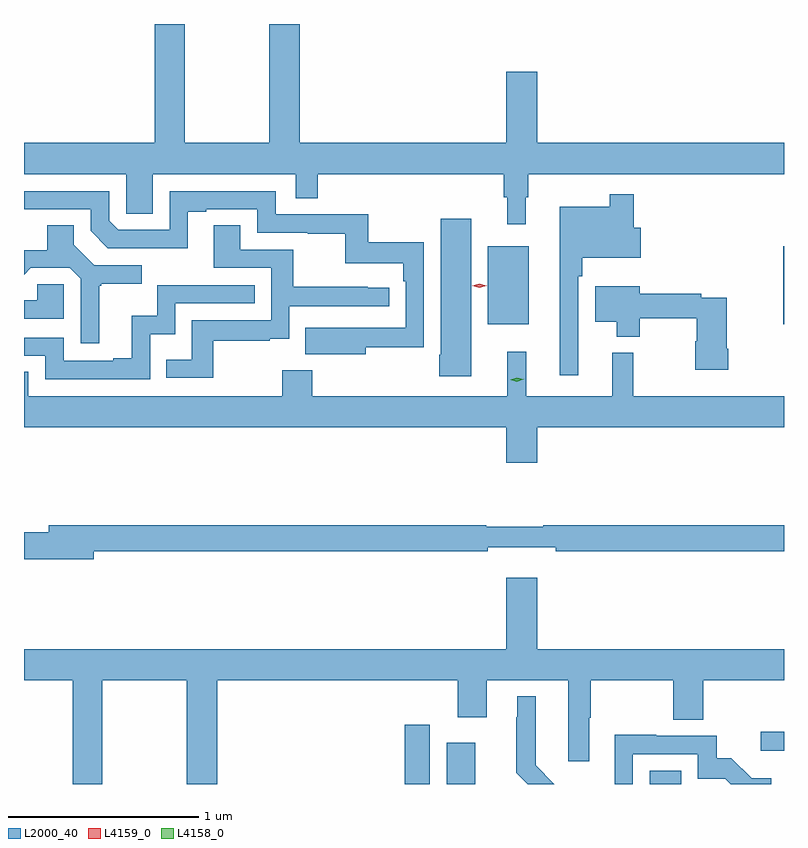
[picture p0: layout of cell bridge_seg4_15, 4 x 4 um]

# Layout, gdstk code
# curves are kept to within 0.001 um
import gdstk
lib = gdstk.Library(unit=1e-6, precision=1e-09)
def R(c, l, rs):  # rectangles x0, y0, x1, y1
    for r in rs: c.add(gdstk.rectangle(r[:2], r[2:], *l))
def P(c, l, *ps):  # polygons
    for p in ps: c.add(gdstk.Polygon(p, *l))
L2000_40 = (2000, 40)
L4158_0 = (4158, 0)
L4159_0 = (4159, 0)

bridge_seg4_15 = lib.new_cell('bridge_seg4_15')
R(bridge_seg4_15, L2000_40, [(1027.61,764.306,1027.741,764.617), (1027.832,764.306,1027.981,764.524), (1028.9,764.306,1029.064,764.377), (1029.483,764.48,1029.606,764.582), (1028.048,766.727,1028.263,767.137), (1029.602,766.727,1029.606,767.137)])
P(bridge_seg4_15, L2000_40, [(1028.248,767.393),(1028.26,767.393),(1028.26,767.516),(1029.606,767.516),(1029.606,767.68),(1028.308,767.68),(1028.308,768.055),(1028.144,768.055),(1028.144,767.68),(1027.058,767.68),(1027.058,768.306),(1026.898,768.306),(1026.898,767.68),(1026.453,767.68),(1026.453,768.306),(1026.293,768.306),(1026.293,767.68),(1025.606,767.68),(1025.606,767.516),(1026.144,767.516),(1026.144,767.308),(1026.283,767.308),(1026.283,767.516),(1027.035,767.516),(1027.035,767.389),(1027.151,767.389),(1027.151,767.516),(1028.131,767.516),(1028.131,767.393),(1028.15,767.393),(1028.15,767.253),(1028.248,767.253)],
  [(1027.405,766.606),(1027.71,766.606),(1027.71,767.158),(1027.417,767.158),(1027.417,767.304),(1026.93,767.304),(1026.93,767.427),(1026.372,767.427),(1026.372,767.223),(1026.102,767.223),(1026.054,767.271),(1026.054,767.427),(1025.606,767.427),(1025.606,767.331),(1025.958,767.331),(1025.958,767.217),(1026.048,767.127),(1026.469,767.126),(1026.469,767.319),(1026.565,767.319),(1026.565,767.331),(1026.834,767.331),(1026.834,767.208),(1027.099,767.208),(1027.099,767.203),(1027.296,767.203),(1027.296,767.048),(1027.601,767.048),(1027.601,766.952),(1027.614,766.952),(1027.614,766.707),(1027.087,766.708),(1027.087,766.568),(1027.405,766.568)],
  [(1028.523,766.979),(1028.543,766.979),(1028.543,767.075),(1028.851,767.075),(1028.851,767.233),(1028.816,767.233),(1028.816,767.41),(1028.688,767.41),(1028.688,767.344),(1028.426,767.344),(1028.426,766.458),(1028.523,766.458)],
  [(1027.96,767.281),(1027.799,767.281),(1027.799,766.564),(1027.792,766.564),(1027.792,766.452),(1027.96,766.452)],
  [(1026.601,766.638),(1026.899,766.638),(1026.899,766.649),(1027.002,766.649),(1027.002,766.821),(1027.528,766.821),(1027.528,766.917),(1027.415,766.917),(1027.415,766.922),(1027.022,766.922),(1027.022,767.118),(1026.745,767.118),(1026.745,767.246),(1026.605,767.246),(1026.605,767.022),(1026.906,767.022),(1026.906,766.746),(1026.49,766.746),(1026.49,766.54),(1026.355,766.54),(1026.355,766.443),(1026.601,766.443)],
  [(1026.001,766.929),(1026.013,766.929),(1026.013,766.94),(1026.226,766.94),(1026.226,767.037),(1025.976,767.037),(1025.869,767.144),(1025.869,767.246),(1025.729,767.246),(1025.729,767.114),(1025.606,767.114),(1025.606,766.987),(1025.641,767.022),(1025.847,767.022),(1025.904,766.965),(1025.904,766.626),(1026.001,766.626)],
  [(1025.814,766.935),(1025.677,766.935),(1025.677,766.851),(1025.606,766.851),(1025.606,766.755),(1025.814,766.755)],
  [(1026.27,766.673),(1026.402,766.673),(1026.402,766.836),(1026.821,766.836),(1026.821,766.932),(1026.306,766.932),(1026.306,766.771),(1026.173,766.771),(1026.173,766.546),(1026.077,766.546),(1026.077,766.533),(1025.814,766.533),(1025.814,766.656),(1025.606,766.656),(1025.606,766.56),(1025.718,766.56),(1025.718,766.437),(1026.27,766.437)],
  [(1029.312,766.597),(1029.304,766.597),(1029.304,766.866),(1029.17,766.866),(1029.17,766.886),(1028.848,766.886),(1028.848,766.927),(1028.612,766.927),(1028.612,766.739),(1028.726,766.739),(1028.726,766.661),(1028.848,766.661),(1028.848,766.758),(1029.146,766.758),(1029.146,766.635),(1029.139,766.635),(1029.139,766.485),(1029.312,766.485)],
  [(1028.308,766.184),(1029.606,766.184),(1029.606,766.348),(1028.812,766.348),(1028.812,766.576),(1028.702,766.576),(1028.702,766.348),(1028.249,766.348),(1028.249,766.582),(1028.15,766.582),(1028.15,766.348),(1027.124,766.348),(1027.124,766.483),(1026.964,766.483),(1026.964,766.348),(1025.628,766.348),(1025.628,766.475),(1025.606,766.475),(1025.606,766.184),(1028.144,766.184),(1028.144,765.996),(1028.308,765.996)],
  [(1025.974,765.532),(1028.048,765.532),(1028.048,765.551),(1028.404,765.551),(1028.404,765.532),(1029.606,765.532),(1029.606,765.668),(1028.339,765.668),(1028.339,765.661),(1028.039,765.661),(1028.039,765.668),(1025.735,765.668),(1025.735,765.632),(1025.606,765.632),(1025.606,765.49),(1025.974,765.49)],
  [(1026.018,764.852),(1026.463,764.852),(1026.463,764.306),(1026.623,764.306),(1026.623,764.852),(1027.889,764.852),(1027.889,764.658),(1028.041,764.658),(1028.041,764.852),(1028.471,764.852),(1028.471,764.427),(1028.581,764.427),(1028.581,764.656),(1028.589,764.656),(1028.589,764.852),(1029.022,764.852),(1029.022,764.644),(1029.182,764.644),(1029.182,764.852),(1029.606,764.852),(1029.606,765.016),(1028.308,765.016),(1028.308,765.391),(1028.144,765.391),(1028.144,765.016),(1025.606,765.016),(1025.606,764.852),(1025.863,764.852),(1025.863,764.306),(1026.018,764.306)],
  [(1028.299,764.404),(1028.299,764.767),(1028.201,764.767),(1028.201,764.657),(1028.197,764.657),(1028.197,764.366),(1028.257,764.306),(1028.397,764.306)],
  [(1028.811,764.463),(1029.153,764.463),(1029.153,764.334),(1029.297,764.334),(1029.325,764.306),(1029.539,764.306),(1029.539,764.335),(1029.435,764.335),(1029.328,764.442),(1029.252,764.442),(1029.252,764.559),(1028.933,764.559),(1028.933,764.564),(1028.714,764.564),(1028.715,764.306),(1028.811,764.306)])
P(bridge_seg4_15, L4158_0, [(1028.199,766.424),(1028.164,766.433),(1028.163,766.433),(1028.164,766.433),(1028.199,766.444),(1028.235,766.435),(1028.235,766.435),(1028.235,766.435)])
P(bridge_seg4_15, L4159_0, [(1028.003,766.918),(1027.965,766.928),(1027.964,766.928),(1027.965,766.929),(1028.003,766.938),(1028.041,766.929),(1028.041,766.928),(1028.041,766.928)])

lib.write_gds('bridge_seg4_15.gds')
